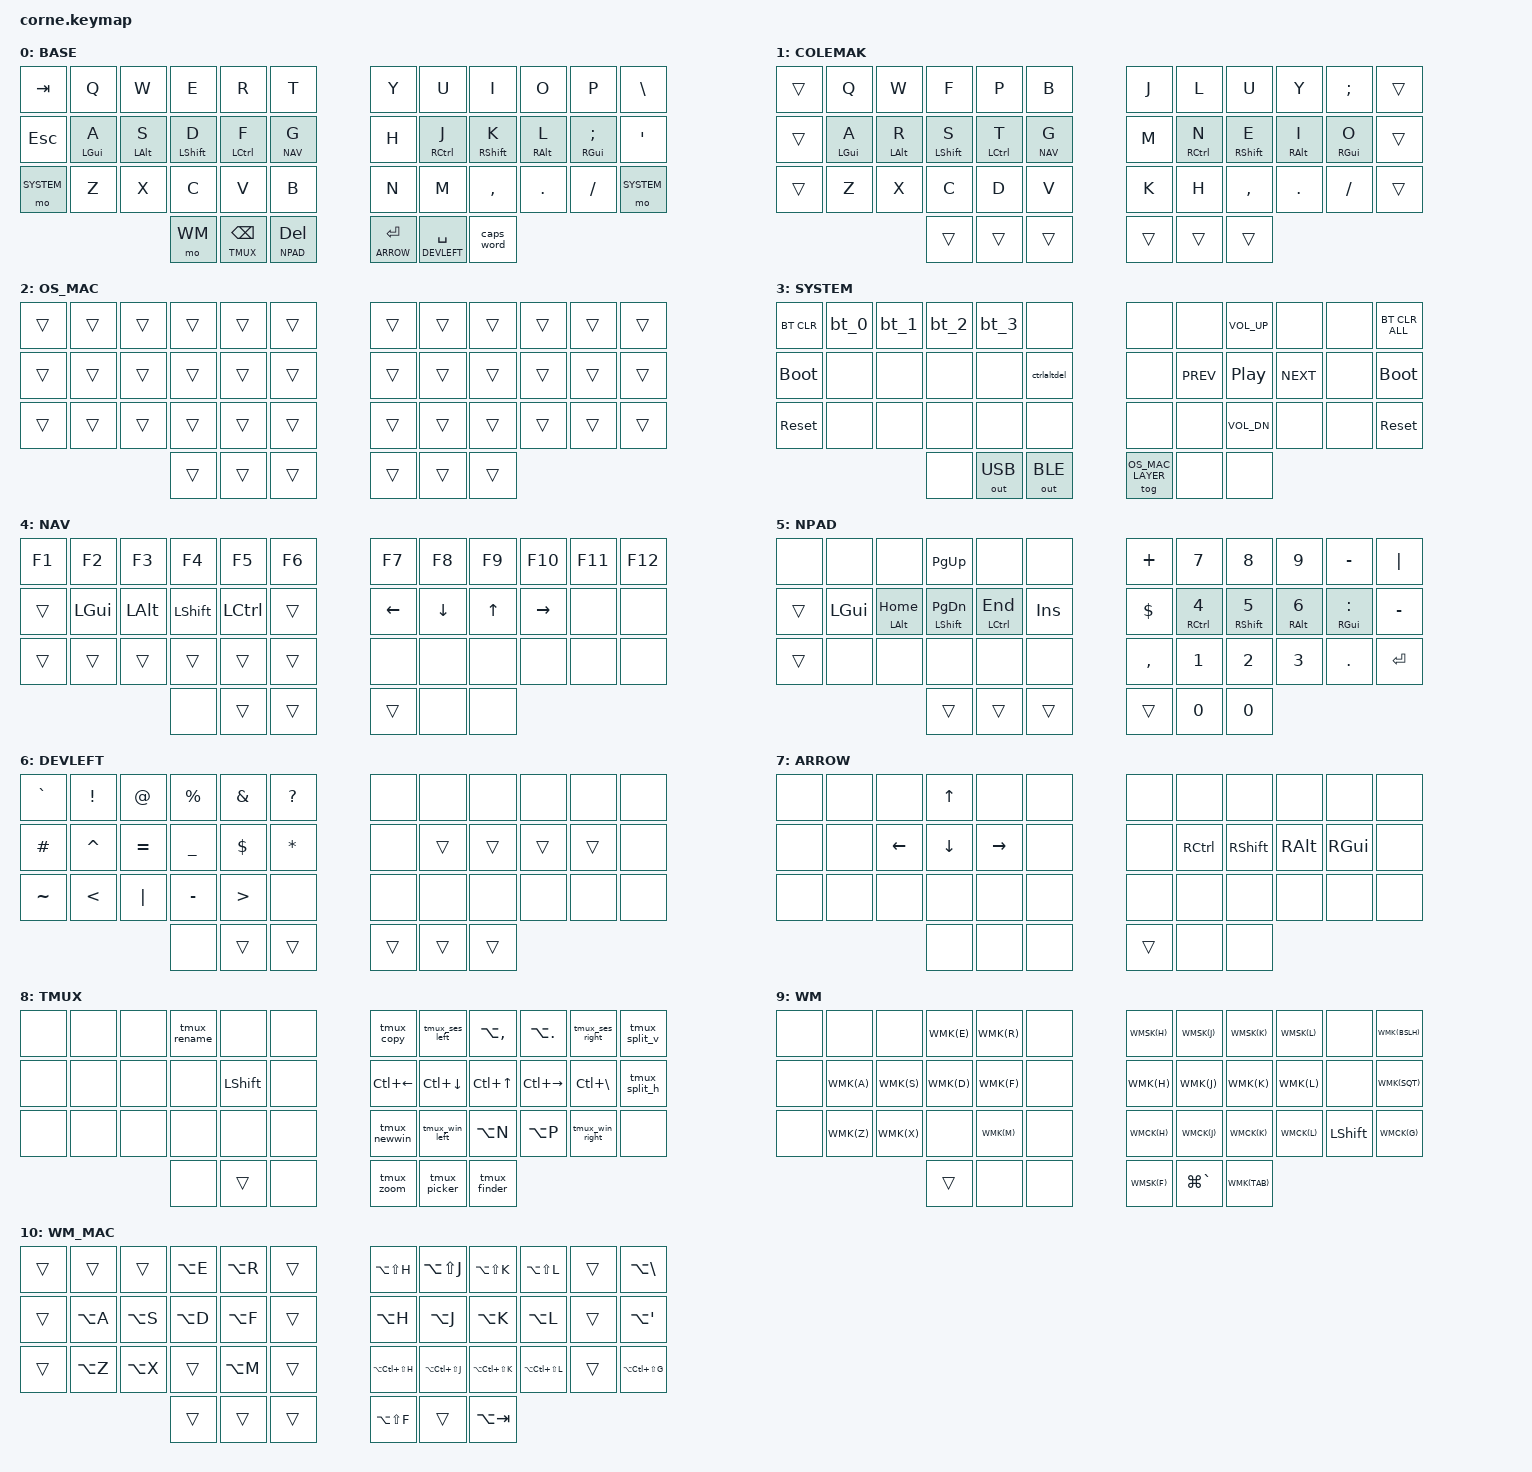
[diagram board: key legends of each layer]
/*
 * Copyright (c) 2020 The ZMK Contributors
 *
 * SPDX-License-Identifier: MIT
 */
// Key position definitions for home row mods (Corne 42)
#define KEYS_L 0 1 2 3 4 5 12 13 14 15 16 17 24 25 26 27 28 29  // Left-hand keys by number
#define KEYS_R 6 7 8 9 10 11 18 19 20 21 22 23 30 31 32 33 34 35  // Right-hand keys by number
#define THUMBS_L 36 37 38  // Left thumb keys (Corne only has 3 per side)
#define THUMBS_R 39 40 41  // Right thumb keys

#include <behaviors.dtsi>
#include <dt-bindings/zmk/keys.h>
#include <dt-bindings/zmk/bt.h>
#include <dt-bindings/zmk/ext_power.h>
#include <dt-bindings/zmk/outputs.h>
#include <dt-bindings/zmk/mouse.h>

// Layer indices. These must match the order of the blocks in `keymap` below.
// OS_MAC_LAYER sits below every held layer. ZMK matches a combo against the
// highest active layer alone, so a held layer has to outrank the flag for the
// combos to stay off while it is held.
#define BASE 0
#define COLEMAK 1
#define OS_MAC_LAYER 2
#define SYSTEM 3
#define NAV 4
#define NPAD 5
#define DEVLEFT 6
#define ARROW 7
#define TMUX 8
#define WM 9
#define WM_MAC_LAYER 10

// The layers every combo fires on. OS_MAC_LAYER is in the set because in
// macOS mode the flag is the highest active layer.
#define COMBO_LAYERS BASE COLEMAK OS_MAC_LAYER

#include "shared_behaviors.dtsi"

/ {
    combos {
        compatible = "zmk,combos";
        /* ----- LEFT HAND ----- */
        combo_tilde {
            timeout-ms = <50>;
            require-prior-idle-ms = <150>;
            key-positions = <1 2>;
            layers = <COMBO_LAYERS>;
            bindings = <&kp TILDE>;
        };
        combo_lparen {
            timeout-ms = <50>;
            require-prior-idle-ms = <150>;
            key-positions = <16 15>;
            layers = <COMBO_LAYERS>;
            bindings = <&kp LPAR>;
        };
        combo_lbracket {
            timeout-ms = <50>;
            require-prior-idle-ms = <150>;
            key-positions = <14 15>;
            layers = <COMBO_LAYERS>;
            bindings = <&kp LBKT>;
        };
        combo_lbrace {
            timeout-ms = <50>;
            require-prior-idle-ms = <150>;
            key-positions = <14 16>;
            layers = <COMBO_LAYERS>;
            bindings = <&kp LBRC>;
        };
        combo_underscore {
            timeout-ms = <50>;
            require-prior-idle-ms = <150>;
            key-positions = <13 14>;
            layers = <COMBO_LAYERS>;
            bindings = <&kp UNDERSCORE>;
        };
        /* ----- RIGHT HAND ----- */
        combo_rparen {
            timeout-ms = <50>;
            require-prior-idle-ms = <150>;
            key-positions = <19 20>;
            layers = <COMBO_LAYERS>;
            bindings = <&kp RPAR>;
        };
        combo_rbracket {
            timeout-ms = <50>;
            require-prior-idle-ms = <150>;
            key-positions = <20 21>;
            layers = <COMBO_LAYERS>;
            bindings = <&kp RBKT>;
        };
        combo_rbrace {
            timeout-ms = <50>;
            require-prior-idle-ms = <150>;
            key-positions = <19 21>;
            layers = <COMBO_LAYERS>;
            bindings = <&kp RBRC>;
        };
        combo_hyphen {
            timeout-ms = <50>;
            require-prior-idle-ms = <150>;
            key-positions = <21 22>;
            layers = <COMBO_LAYERS>;
            bindings = <&kp MINUS>;
        };
        combo_colemak_toggle {
            timeout-ms = <50>;
            require-prior-idle-ms = <300>;
            key-positions = <38 39>;
            bindings = <&tog COLEMAK>;
            layers = <COMBO_LAYERS>;
        };
    };

    keymap {
        compatible = "zmk,keymap";
        BASE {
            display-name = "BASE";
            bindings = <
    &kp TAB      &kp Q        &kp W           &kp E              &kp R           &kp T                                                &kp Y                &kp U              &kp I              &kp O              &kp P            &kp BSLH
    &kp ESC      &hml LGUI A  &hml LALT S     &hmls LSHIFT D     &hml LCTRL F    &ltl NAV G                                           &kp H                &hmr RCTRL J       &hmrs RSHIFT K     &hmr RALT L        &hmr RGUI SEMI   &kp SINGLE_QUOTE
    &mo SYSTEM   &kp Z        &kp X           &kp C              &kp V           &kp B                                                &kp N                &kp M              &kp COMMA          &kp DOT            &kp FSLH         &mo SYSTEM
                                                                 &mo WM          &ltltb TMUX BSPC  &ltlt NPAD DEL  &ltrtb ARROW RET   &ltrt DEVLEFT SPACE  &caps_word
            >;
        };
        COLEMAK {
            display-name = "COLEMAK";
            bindings = <
    &trans       &kp Q        &kp W           &kp F              &kp P           &kp B                                                &kp J                &kp L              &kp U              &kp Y              &kp SEMI         &trans
    &trans       &hml LGUI A  &hml LALT R     &hmls LSHIFT S     &hml LCTRL T    &ltl NAV G                                           &kp M                &hmr RCTRL N       &hmrs RSHIFT E     &hmr RALT I        &hmr RGUI O      &trans
    &trans       &kp Z        &kp X           &kp C              &kp D           &kp V                                                &kp K                &kp H              &kp COMMA          &kp DOT            &kp FSLH         &trans
                                                                 &trans          &trans            &trans          &trans             &trans               &trans
            >;
        };
        OS_MAC {
            display-name = "OS_MAC";
            bindings = <
    &trans       &trans       &trans          &trans             &trans          &trans                                               &trans               &trans             &trans             &trans             &trans           &trans
    &trans       &trans       &trans          &trans             &trans          &trans                                               &trans               &trans             &trans             &trans             &trans           &trans
    &trans       &trans       &trans          &trans             &trans          &trans                                               &trans               &trans             &trans             &trans             &trans           &trans
                                                                 &trans          &trans            &trans          &trans             &trans               &trans
            >;
        };
        SYSTEM {
            display-name = "SYSTEM";
            bindings = <
    &bt BT_CLR   &bt_0        &bt_1           &bt_2              &bt_3           &none                                                &none                &none              &kp C_VOL_UP       &none              &none            &bt BT_CLR_ALL
    &bootloader  &none        &none           &none              &none           &ctrlaltdel                                          &none                &kp C_PREV         &kp C_PP           &kp C_NEXT         &none            &bootloader
    &sys_reset   &none        &none           &none              &none           &none                                                &none                &none              &kp C_VOL_DN       &none              &none            &sys_reset
                                                                 &none           &out OUT_USB      &out OUT_BLE    &tog OS_MAC_LAYER  &none                &none
            >;
        };
        NAV {
            display-name = "NAV";
            bindings = <
    &kp F1       &kp F2       &kp F3          &kp F4             &kp F5          &kp F6                                               &kp F7               &kp F8             &kp F9             &kp F10            &kp F11          &kp F12
    &trans       &kp LGUI     &kp LALT        &kp LSHIFT         &kp LCTRL       &trans                                               &kp LEFT_ARROW       &kp DOWN_ARROW     &kp UP_ARROW       &kp RIGHT_ARROW    &none            &none
    &trans       &trans       &trans          &trans             &trans          &trans                                               &none                &none              &none              &none              &none            &none
                                                                 &none           &trans            &trans          &trans             &none                &none
            >;
        };
        NPAD {
            display-name = "NPAD";
            bindings = <
    &none        &none        &none           &kp PG_UP          &none           &none                                                &kp PLUS             &kp N7             &kp N8             &kp N9             &kp MINUS        &kp PIPE
    &trans       &kp LGUI     &hml LALT HOME  &hml LSHIFT PG_DN  &hml LCTRL END  &kp INSERT                                           &kp DOLLAR           &hmr RCTRL N4      &hmr RSHIFT N5     &hmr RALT N6       &hmr RGUI COLON  &kp MINUS
    &trans       &none        &none           &none              &none           &none                                                &kp COMMA            &kp N1             &kp N2             &kp N3             &kp PERIOD       &kp ENTER
                                                                 &trans          &trans            &trans          &trans             &kp N0               &kp N0
            >;
        };
        DEVLEFT {
            display-name = "DEVLEFT";
            bindings = <
    &kp GRAVE    &kp EXCL     &kp AT_SIGN     &kp PERCENT        &kp AMPERSAND   &kp QUESTION                                         &none                &none              &none              &none              &none            &none
    &kp HASH     &kp CARET    &kp EQUAL       &kp UNDERSCORE     &kp DOLLAR      &kp STAR                                             &none                &trans             &trans             &trans             &trans           &none
    &kp TILDE    &kp LT       &kp PIPE        &kp MINUS          &kp GT          &none                                                &none                &none              &none              &none              &none            &none
                                                                 &none           &trans            &trans          &trans             &trans               &trans
            >;
        };
        ARROW {
            display-name = "ARROW";
            bindings = <
    &none        &none        &none           &kp UP             &none           &none                                                &none                &none              &none              &none              &none            &none
    &none        &none        &kp LEFT        &kp DOWN           &kp RIGHT       &none                                                &none                &kp RCTRL          &kp RSHIFT         &kp RALT           &kp RGUI         &none
    &none        &none        &none           &none              &none           &none                                                &none                &none              &none              &none              &none            &none
                                                                 &none           &none             &none           &trans             &none                &none
            >;
        };
        TMUX {
            display-name = "TMUX";
            bindings = <
    &none        &none        &none           &tmux_rename       &none           &none                                                &tmux_copy           &tmux_ses_left     &kp LA(COMMA)      &kp LA(DOT)        &tmux_ses_right  &tmux_split_v
    &none        &none        &none           &none              &kp LSHIFT      &none                                                &kp LC(LEFT)         &kp LC(DOWN)       &kp LC(UP)         &kp LC(RIGHT)      &kp LC(BSLH)     &tmux_split_h
    &none        &none        &none           &none              &none           &none                                                &tmux_newwin         &tmux_win_left     &kp LA(N)          &kp LA(P)          &tmux_win_right  &none
                                                                 &none           &trans            &none           &tmux_zoom         &tmux_picker         &tmux_finder
            >;
        };
        WM {
            display-name = "WM";
            bindings = <
    &none        &none        &none           &kp WMK(E)         &kp WMK(R)      &none                                                &kp WMSK(H)          &kp WMSK(J)        &kp WMSK(K)        &kp WMSK(L)        &none            &kp WMK(BSLH)
    &none        &kp WMK(A)   &kp WMK(S)      &kp WMK(D)         &kp WMK(F)      &none                                                &kp WMK(H)           &kp WMK(J)         &kp WMK(K)         &kp WMK(L)         &none            &kp WMK(SQT)
    &none        &kp WMK(Z)   &kp WMK(X)      &none              &kp WMK(M)      &none                                                &kp WMCK(H)          &kp WMCK(J)        &kp WMCK(K)        &kp WMCK(L)        &kp LSHIFT       &kp WMCK(G)
                                                                 &trans          &none             &none           &kp WMSK(F)        &kp LG(GRAVE)        &kp WMK(TAB)
            >;
        };
        WM_MAC {
            display-name = "WM_MAC";
            bindings = <
    &trans       &trans       &trans          &kp LA(E)          &kp LA(R)       &trans                                               &kp LA(LS(H))        &kp LA(LS(J))      &kp LA(LS(K))      &kp LA(LS(L))      &trans           &kp LA(BSLH)
    &trans       &kp LA(A)    &kp LA(S)       &kp LA(D)          &kp LA(F)       &trans                                               &kp LA(H)            &kp LA(J)          &kp LA(K)          &kp LA(L)          &trans           &kp LA(SQT)
    &trans       &kp LA(Z)    &kp LA(X)       &trans             &kp LA(M)       &trans                                               &kp LA(LC(LS(H)))    &kp LA(LC(LS(J)))  &kp LA(LC(LS(K)))  &kp LA(LC(LS(L)))  &trans           &kp LA(LC(LS(G)))
                                                                 &trans          &trans            &trans          &kp LA(LS(F))      &trans               &kp LA(TAB)
            >;
        };
    };

    conditional_layers {
        compatible = "zmk,conditional-layers";
        wm_mac {
            if-layers = <WM OS_MAC_LAYER>;
            then-layer = <WM_MAC_LAYER>;
        };
    };
};
